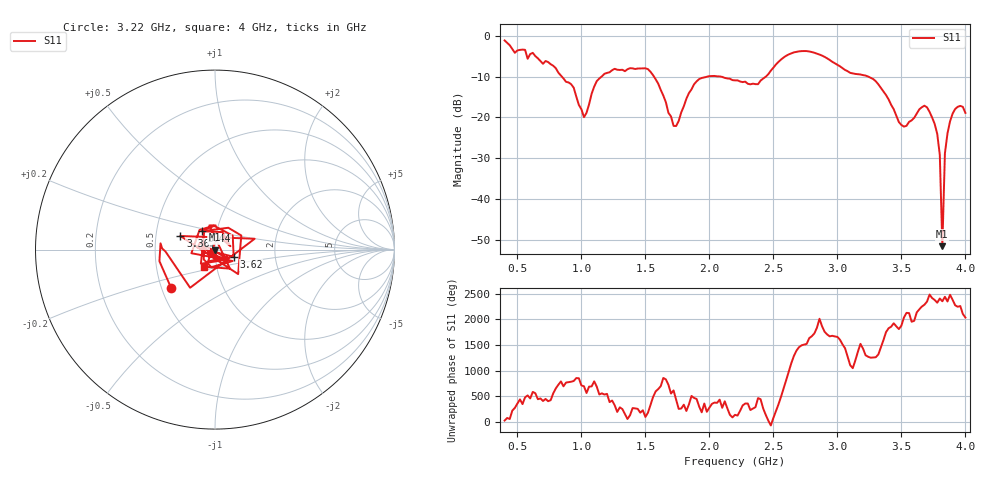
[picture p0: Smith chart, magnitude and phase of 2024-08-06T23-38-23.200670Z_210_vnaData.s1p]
!Created with skrf (http://scikit-rf.org).
# Hz S RI R 50.0
!freq ReS11 ImS11
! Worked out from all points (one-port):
!   181 points, 400 MHz to 4 GHz, reference 50 ohm
!   lowest |S11| = -51.4 dB at 3.82 GHz (marker M1), VSWR 1.01, Z = 49.7 - j0.0724 ohm
!   |S11| at or under -10 dB: 1.567 GHz to 1.986 GHz (419.6 MHz wide, 23.6 % of centre); 2.084 GHz to 2.442 GHz (357.8 MHz wide, 15.8 % of centre); 3.24 GHz to end of sweep (the widest 3 of 4)
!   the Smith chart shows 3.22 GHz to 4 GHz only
!   S11 on the Smith chart (normalised r, x): 3.22 GHz: 0.56, -0.27; 3.36 GHz: 0.67, +0.11; 3.44 GHz: 0.85, +0.18; 3.62 GHz: 1.23, -0.10; 4 GHz: 0.87, -0.17
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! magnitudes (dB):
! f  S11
! 400 MHz  -1.2
! 860 MHz  -10.5
! 940 MHz  -12.7
! 1.02 GHz  -19.9
! 1.12 GHz  -11.1
! 1.3 GHz  -8.4
! 1.52 GHz  -8.2
! 1.72 GHz  -22.1
! 1.76 GHz  -20.9
! 1.92 GHz  -10.6
! 2.2 GHz  -10.9
! 2.38 GHz  -11.9
! 2.66 GHz  -4.1
! 3.1 GHz  -9.1
! 3.22 GHz  -9.8
! 3.36 GHz  -13.7
! 3.44 GHz  -18.0
! 3.5 GHz  -21.8
! 3.56 GHz  -21.1
! 3.62 GHz  -19.1
! 3.7 GHz  -17.5
! 3.78 GHz  -24.0
! 3.8 GHz  -29.1
! 3.82 GHz  -51.4
! 3.84 GHz  -28.8
! 3.86 GHz  -23.9
! 3.92 GHz  -17.9
! 4 GHz  -18.9
